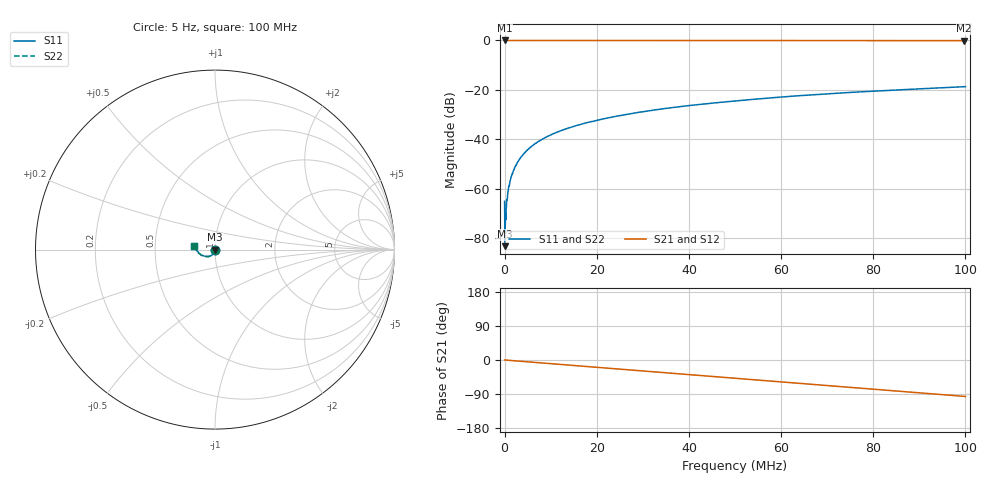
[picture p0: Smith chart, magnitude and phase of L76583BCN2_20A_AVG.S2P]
!Agilent Technologies,E5061B,MY49102235,A.02.00
!Date: Mon Jul 10 17:01:51 2023
!Data & Calibration Information:
!Freq	S11:SOLT2(ON)	S21:SOLT2(ON)	S12:SOLT2(ON)	S22:SOLT2(ON)
# Hz S RI R 50
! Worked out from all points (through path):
!   1600 points, 5 Hz to 100 MHz, reference 50 ohm
!   highest |S21| = 0.01 dB at 5 Hz (marker M1); lowest = -0.1 dB at 99.75 MHz (marker M2)
!   group delay of S21, straight-line fit = 2.67 ns
!   lowest |S11| = -83.2 dB at 62.54 kHz (marker M3), VSWR 1.00, Z = 50 - j0.00302 ohm
!   |S11| at or under -10 dB: start of sweep to end of sweep
!   |S22| runs from -78.7 to -18.6 dB; largest |S21 - S12| = 0.0025
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5  -0.000352 0.000433  1.002 0.0023  1.001 2.56e-08  -0.000187 -7.04e-05
62544.08  -6.21e-05 -3.02e-05  1 -0.00101  1 -0.000639  9.12e-06 -0.000115
250161.3  2.95e-05 -0.000233  0.9999 -0.00435  0.9998 -0.00418  2.12e-05 -0.000244
562856.8  0.00013 -0.00059  0.9997 -0.00966  0.9996 -0.00926  6.78e-05 -0.000618
687934.9  -1.61e-05 -0.000827  1 -0.0115  1 -0.0116  -2e-05 -0.000758
875552.2  -7.28e-05 -0.00108  0.9997 -0.015  0.9999 -0.0148  -7.22e-05 -0.00107
1063169  -6.6e-05 -0.00122  1 -0.018  1 -0.018  -4.44e-05 -0.00131
1313326  -8.1e-05 -0.00155  0.9998 -0.0216  0.9991 -0.022  -8.52e-05 -0.00161
1813638  -0.000125 -0.00216  1 -0.0305  0.9991 -0.0303  -0.00011 -0.00217
2376490  -9.38e-05 -0.00291  0.9997 -0.0402  0.9992 -0.0399  -8.92e-05 -0.0029
3877428  -0.000214 -0.00473  0.9978 -0.0653  0.9977 -0.065  -0.000343 -0.00476
6003757  -0.000665 -0.00743  0.9948 -0.1011  0.9948 -0.1006  -0.000774 -0.00738
8755477  -0.00152 -0.0106  0.9889 -0.147  0.989 -0.1465  -0.00156 -0.0106
1.250782e7  -0.00311 -0.015  0.9775 -0.2088  0.9776 -0.2087  -0.0031 -0.0149
1.669794e7  -0.00566 -0.0195  0.9605 -0.277  0.9605 -0.2769  -0.00551 -0.0196
2.445279e7  -0.0121 -0.0269  0.9163 -0.3995  0.916 -0.3995  -0.0119 -0.0273
3.333334e7  -0.0221 -0.0336  0.8461 -0.5311  0.8463 -0.5308  -0.0217 -0.0343
5.003127e7  -0.0458 -0.0384  0.6653 -0.7438  0.6653 -0.744  -0.0459 -0.0393
6.672921e7  -0.0734 -0.0313  0.433 -0.8976  0.4328 -0.8972  -0.0733 -0.0324
8.33646e7  -0.0971 -0.0109  0.1679 -0.9803  0.1677 -0.9801  -0.0974 -0.0125
9.974984e7  -0.1142 0.021  -0.1036 -0.9872  -0.1038 -0.9869  -0.115 0.0189
1e8  -0.1144 0.0216  -0.1076 -0.9869  -0.1078 -0.9865  -0.1154 0.0194
